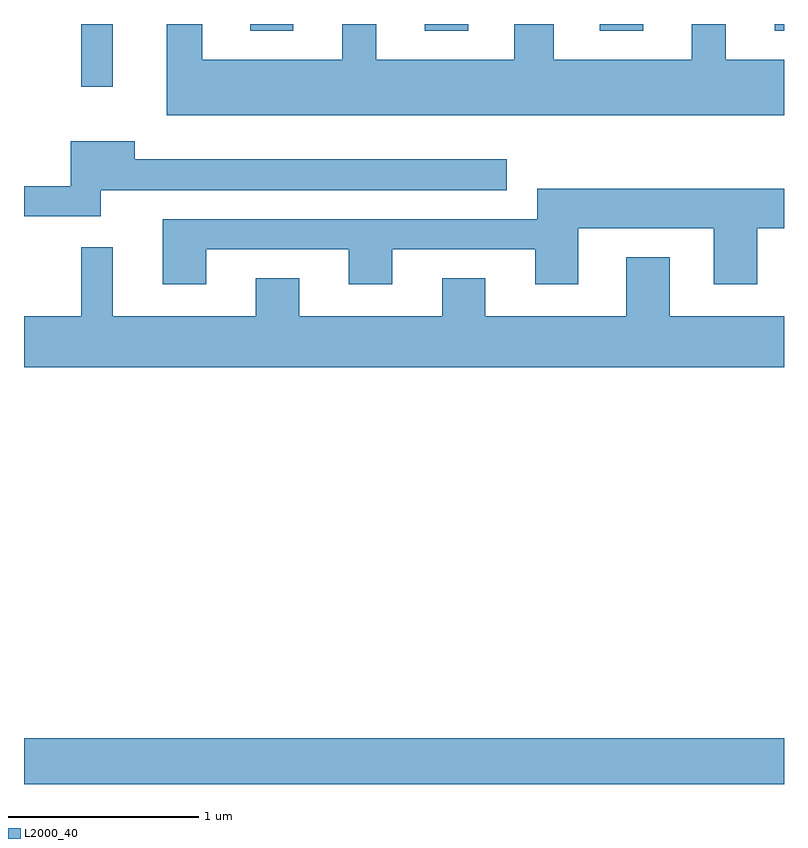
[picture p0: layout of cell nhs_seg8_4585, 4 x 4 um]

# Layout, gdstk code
import gdstk
lib = gdstk.Library(unit=1e-6, precision=1e-09)
def R(c, l, rs):  # rectangles x0, y0, x1, y1
    for r in rs: c.add(gdstk.rectangle(r[:2], r[2:], *l))
def A(c, l, x, y, w, h, nx, ny, dx, dy):  # array of equal rectangles
    R(c, l, [(x+i*dx, y+j*dy, x+i*dx+w, y+j*dy+h) for i in range(nx) for j in range(ny)])
def P(c, l, *ps):  # polygons
    for p in ps: c.add(gdstk.Polygon(p, *l))
L2000_40 = (2000, 40)

nhs_seg8_4585 = lib.new_cell('nhs_seg8_4585')
A(nhs_seg8_4585, L2000_40, 322.801, 1940.306, 0.228, 0.036, 3, 1, 0.92, 0)
R(nhs_seg8_4585, L2000_40, [(321.611,1936.342,325.611,1936.584), (321.911,1940.013,322.079,1940.342), (325.561,1940.306,325.611,1940.342)])
P(nhs_seg8_4585, L2000_40, [(325.611,1940.154),(325.304,1940.154),(325.304,1940.342),(325.126,1940.342),(325.126,1940.154),(324.399,1940.154),(324.399,1940.342),(324.191,1940.342),(324.191,1940.154),(323.464,1940.154),(323.464,1940.342),(323.286,1940.342),(323.286,1940.154),(322.549,1940.154),(322.549,1940.342),(322.361,1940.342),(322.361,1939.861),(325.611,1939.861)],
  [(322.014,1939.466),(324.153,1939.466),(324.153,1939.629),(322.194,1939.629),(322.194,1939.724),(321.856,1939.724),(321.856,1939.489),(321.611,1939.489),(321.611,1939.331),(322.014,1939.331)],
  [(322.569,1939.156),(323.321,1939.156),(323.321,1938.971),(323.549,1938.971),(323.549,1939.156),(324.301,1939.156),(324.301,1938.971),(324.529,1938.971),(324.529,1939.266),(325.241,1939.266),(325.241,1938.971),(325.469,1938.971),(325.469,1939.266),(325.611,1939.266),(325.611,1939.474),(324.311,1939.474),(324.311,1939.314),(322.341,1939.314),(322.341,1938.971),(322.569,1938.971)],
  [(325.611,1938.804),(325.009,1938.804),(325.009,1939.114),(324.781,1939.114),(324.781,1938.804),(324.039,1938.804),(324.039,1939.004),(323.811,1939.004),(323.811,1938.804),(323.059,1938.804),(323.059,1939.004),(322.831,1939.004),(322.831,1938.804),(322.079,1938.804),(322.079,1939.168),(321.911,1939.168),(321.911,1938.804),(321.611,1938.804),(321.611,1938.536),(325.611,1938.536)])

lib.write_gds('nhs_seg8_4585.gds')
